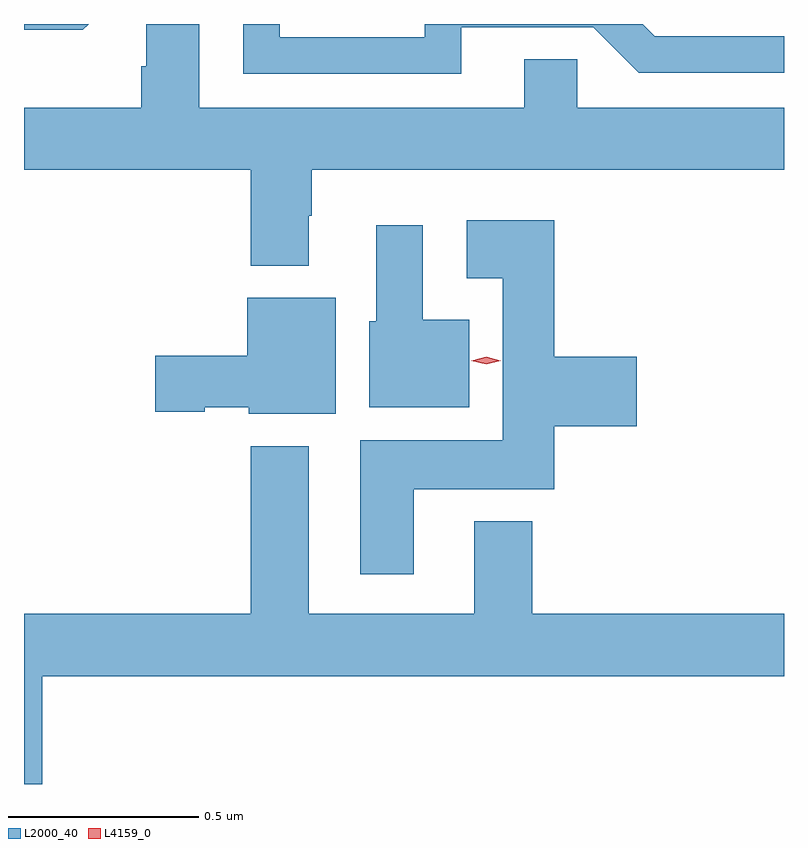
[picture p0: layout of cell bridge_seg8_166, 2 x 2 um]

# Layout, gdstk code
import gdstk
lib = gdstk.Library(unit=1e-6, precision=1e-09)
def P(c, l, *ps):  # polygons
    for p in ps: c.add(gdstk.Polygon(p, *l))
L2000_40 = (2000, 40)
L4159_0 = (4159, 0)

bridge_seg8_166 = lib.new_cell('bridge_seg8_166')
P(bridge_seg8_166, L2000_40, [(591.049,1115.544),(591.396,1115.544),(591.516,1115.424),(591.898,1115.424),(591.898,1115.52),(591.558,1115.52),(591.526,1115.552),(590.952,1115.552),(590.952,1115.517),(590.571,1115.517),(590.571,1115.552),(590.475,1115.552),(590.475,1115.421),(591.049,1115.421)],
  [(590.647,1115.048),(590.655,1115.048),(590.655,1115.168),(591.898,1115.168),(591.898,1115.332),(591.354,1115.332),(591.354,1115.459),(591.215,1115.459),(591.215,1115.332),(590.359,1115.332),(590.359,1115.552),(590.22,1115.552),(590.22,1115.441),(590.207,1115.441),(590.207,1115.332),(589.898,1115.332),(589.898,1115.168),(590.495,1115.168),(590.495,1114.916),(590.647,1114.916)],
  [(590.068,1115.552),(589.898,1115.552),(589.898,1115.537),(590.053,1115.537)],
  [(590.923,1114.328),(591.293,1114.328),(591.293,1114.493),(591.511,1114.493),(591.511,1114.676),(591.293,1114.676),(591.293,1115.035),(591.063,1115.035),(591.063,1114.883),(591.158,1114.883),(591.158,1114.456),(590.783,1114.456),(590.783,1114.104),(590.923,1114.104)],
  [(591.07,1114.774),(590.947,1114.774),(590.947,1115.023),(590.825,1115.023),(590.825,1114.77),(590.807,1114.77),(590.807,1114.544),(591.07,1114.544)],
  [(590.719,1114.831),(590.486,1114.831),(590.486,1114.679),(590.244,1114.679),(590.244,1114.532),(590.373,1114.532),(590.373,1114.544),(590.49,1114.544),(590.49,1114.526),(590.719,1114.526)],
  [(589.946,1113.836),(591.898,1113.836),(591.898,1114),(591.236,1114),(591.236,1114.243),(591.083,1114.243),(591.083,1114),(590.647,1114),(590.647,1114.441),(590.495,1114.441),(590.495,1114),(589.898,1114),(589.898,1113.552),(589.946,1113.552)])
P(bridge_seg8_166, L4159_0, [(591.114,1114.656),(591.075,1114.666),(591.075,1114.666),(591.075,1114.666),(591.114,1114.676),(591.153,1114.666),(591.153,1114.666),(591.153,1114.666)])

lib.write_gds('bridge_seg8_166.gds')
